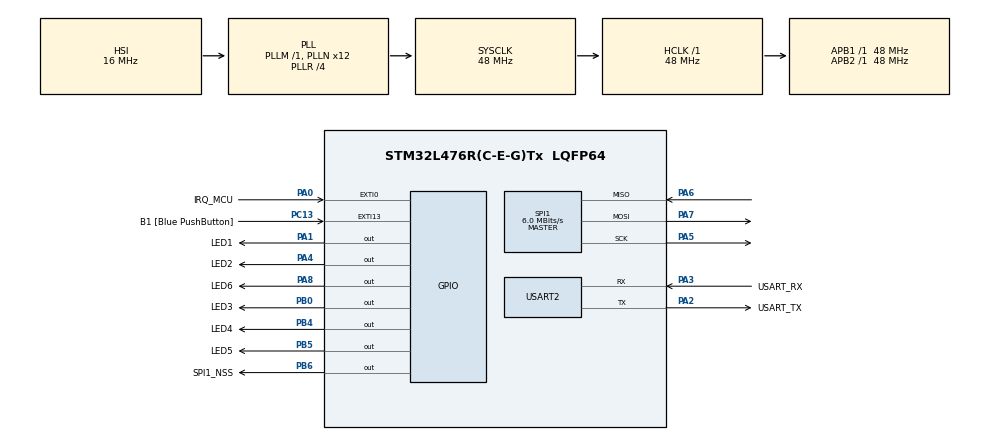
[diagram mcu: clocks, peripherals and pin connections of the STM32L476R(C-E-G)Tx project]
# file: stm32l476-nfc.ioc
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Mcu.Family=STM32L4
Mcu.Name=STM32L476R(C-E-G)Tx
Mcu.Package=LQFP64
NVIC.EXTI0_IRQn=true\:0\:0\:false\:false\:true\:true\:true\:true
NVIC.PriorityGroup=NVIC_PRIORITYGROUP_4
PA0.GPIO_Label=IRQ_MCU
PA0.Signal=GPXTI0
PA1.GPIO_Label=LED1
PA1.Signal=GPIO_Output
PA13\ (JTMS-SWDIO).GPIO_Label=TMS
PA13\ (JTMS-SWDIO).Mode=Serial_Wire
PA13\ (JTMS-SWDIO).Signal=SYS_JTMS-SWDIO
PA14\ (JTCK-SWCLK).GPIO_Label=TCK
PA14\ (JTCK-SWCLK).Mode=Serial_Wire
PA14\ (JTCK-SWCLK).Signal=SYS_JTCK-SWCLK
PA2.GPIO_Label=USART_TX
PA2.GPIO_Mode=GPIO_MODE_AF_PP
PA2.GPIO_PuPd=GPIO_NOPULL
PA2.GPIO_Speed=GPIO_SPEED_FREQ_VERY_HIGH
PA2.Mode=Asynchronous
PA2.Signal=USART2_TX
PA3.GPIO_Label=USART_RX
PA3.GPIO_Mode=GPIO_MODE_AF_PP
PA3.GPIO_PuPd=GPIO_NOPULL
PA3.GPIO_Speed=GPIO_SPEED_FREQ_VERY_HIGH
PA3.Mode=Asynchronous
PA3.Signal=USART2_RX
PA4.GPIO_Label=LED2
PA4.Signal=GPIO_Output
PA5.Mode=Full_Duplex_Master
PA5.Signal=SPI1_SCK
PA6.Mode=Full_Duplex_Master
PA6.Signal=SPI1_MISO
PA7.Mode=Full_Duplex_Master
PA7.Signal=SPI1_MOSI
PA8.GPIO_Label=LED6
PA8.Signal=GPIO_Output
PB0.GPIO_Label=LED3
PB0.Signal=GPIO_Output
PB3\ (JTDO-TRACESWO).GPIO_Label=SWO
PB3\ (JTDO-TRACESWO).Signal=SYS_JTDO-SWO
PB4\ (NJTRST).GPIO_Label=LED4
PB4\ (NJTRST).Signal=GPIO_Output
PB5.GPIO_Label=LED5
PB5.Signal=GPIO_Output
PB6.GPIO_Label=SPI1_NSS
PB6.Signal=GPIO_Output
PC13.GPIO_Label=B1 [Blue PushButton]
PC13.GPIO_ModeDefaultEXTI=GPIO_MODE_IT_RISING
PC13.GPIO_PuPd=GPIO_NOPULL
PC13.Signal=GPXTI13
PC14-OSC32_IN\ (PC14).Mode=LSE-External-Oscillator
PC14-OSC32_IN\ (PC14).Signal=RCC_OSC32_IN
PC15-OSC32_OUT\ (PC15).Mode=LSE-External-Oscillator
PC15-OSC32_OUT\ (PC15).Signal=RCC_OSC32_OUT
PH0-OSC_IN\ (PH0).Signal=RCC_OSC_IN
PH1-OSC_OUT\ (PH1).Signal=RCC_OSC_OUT
ProjectManager.HeapSize=0x200
ProjectManager.StackSize=0x400
ProjectManager.TargetToolchain=CMake
RCC.ADCFreq_Value=64000000
RCC.AHBFreq_Value=48000000
RCC.APB1Freq_Value=48000000
RCC.APB1TimFreq_Value=48000000
RCC.APB2Freq_Value=48000000
RCC.APB2TimFreq_Value=48000000
RCC.CortexFreq_Value=48000000
RCC.HCLKFreq_Value=48000000
RCC.HSE_VALUE=8000000
RCC.HSI_VALUE=16000000
RCC.MSI_VALUE=4000000
RCC.PLLN=12
RCC.PLLR=RCC_PLLR_DIV4
RCC.PLLSourceVirtual=RCC_PLLSOURCE_HSI
RCC.PREFETCH_ENABLE=1
RCC.SYSCLKFreq_VALUE=48000000
RCC.SYSCLKSource=RCC_SYSCLKSOURCE_PLLCLK
RCC.USBFreq_Value=64000000
RCC.VCOOutputFreq_Value=192000000
SPI1.BaudRatePrescaler=SPI_BAUDRATEPRESCALER_8
SPI1.CLKPhase=SPI_PHASE_2EDGE
SPI1.CalculateBaudRate=6.0 MBits/s
SPI1.DataSize=SPI_DATASIZE_8BIT
SPI1.Direction=SPI_DIRECTION_2LINES
SPI1.Mode=SPI_MODE_MASTER
SPI1.VirtualType=VM_MASTER
USART2.VirtualMode-Asynchronous=VM_ASYNC
board=NUCLEO-L476RG

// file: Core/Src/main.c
/* USER CODE BEGIN Header */
/**
  ******************************************************************************
  * @file           : main.c
  * @brief         : Main program body
  ******************************************************************************
  * @attention
  *
  * Copyright (c) 2024 STMicroelectronics.
  * All rights reserved.
  *
  * This software is licensed under terms that can be found in the LICENSE file
  * in the root directory of this software component.
  * If no LICENSE file comes with this software, it is provided AS-IS.
  *
  ******************************************************************************
  */
/* USER CODE END Header */
#include "main.h"
#include "macros.h"
#include "st25r3911b_hal_driver.h"
#include "st25r3911b_errors.h"

SPI_HandleTypeDef hspi1;
UART_HandleTypeDef huart2;

/* USER CODE BEGIN PV */

/* ST25R Global variables */
byte ST25R_IRQ_FLAG = 0;
irq_reason_t ST25R_IRQ_REASON = ST25R_NO_IRQ;
byte st25r_irq_buffer[3] = {0};

/* USER CODE END PV */

void SystemClock_Config(void);
static void MX_GPIO_Init(void);
static void MX_USART2_UART_Init(void);
static void MX_SPI1_Init(void);
/* USER CODE BEGIN PFP */
void HAL_GPIO_EXTI_Callback(uint16_t GPIO_Pin);
static void ST25R_ExtractIRQReason(void);
/* USER CODE END PFP */

int main(void)
{

  /* MCU Configuration--------------------------------------------------------*/

  /* Reset of all peripherals, Initializes the Flash interface and the Systick. */
  HAL_Init();

  /* Configure the system clock */
  SystemClock_Config();

  /* Initialize all configured peripherals */
  MX_GPIO_Init();
  MX_USART2_UART_Init();
  MX_SPI1_Init();
  /* USER CODE BEGIN 2 */

  /* Enable printf over UART2 */
  RetargetInit(&huart2);

  /* Check the presence of the IC */
  if (ST25R_CheckIC() != ST25R_OK) {
    Error_Handler();
  }

  /* Initialize ST25R3911B */
  if (ST25R_PowerUpSequence() != ST25R_OK) {
    Error_Handler();
  }
  if (ST25R_SelectTypeA() != ST25R_OK) {
    Error_Handler();
  }

  /* Perform Anticoll A */
  if (ST25R_PerformAnticollA() != ST25R_OK) {
    Error_Handler();
  }

  /* USER CODE END 2 */

  /* Infinite loop */
  while (1)
  {

  }
}

void SystemClock_Config(void)
{
  RCC_OscInitTypeDef RCC_OscInitStruct = {0};
  RCC_ClkInitTypeDef RCC_ClkInitStruct = {0};

  /** Configure the main internal regulator output voltage
  */
  if (HAL_PWREx_ControlVoltageScaling(PWR_REGULATOR_VOLTAGE_SCALE1) != HAL_OK)
  {
    Error_Handler();
  }

  /** Initializes the RCC Oscillators according to the specified parameters
  * in the RCC_OscInitTypeDef structure.
  */
  RCC_OscInitStruct.OscillatorType = RCC_OSCILLATORTYPE_HSI;
  RCC_OscInitStruct.HSIState = RCC_HSI_ON;
  RCC_OscInitStruct.HSICalibrationValue = RCC_HSICALIBRATION_DEFAULT;
  RCC_OscInitStruct.PLL.PLLState = RCC_PLL_ON;
  RCC_OscInitStruct.PLL.PLLSource = RCC_PLLSOURCE_HSI;
  RCC_OscInitStruct.PLL.PLLM = 1;
  RCC_OscInitStruct.PLL.PLLN = 12;
  RCC_OscInitStruct.PLL.PLLP = RCC_PLLP_DIV7;
  RCC_OscInitStruct.PLL.PLLQ = RCC_PLLQ_DIV2;
  RCC_OscInitStruct.PLL.PLLR = RCC_PLLR_DIV4;
  if (HAL_RCC_OscConfig(&RCC_OscInitStruct) != HAL_OK)
  {
    Error_Handler();
  }

  /** Initializes the CPU, AHB and APB buses clocks
  */
  RCC_ClkInitStruct.ClockType = RCC_CLOCKTYPE_HCLK|RCC_CLOCKTYPE_SYSCLK
                              |RCC_CLOCKTYPE_PCLK1|RCC_CLOCKTYPE_PCLK2;
  RCC_ClkInitStruct.SYSCLKSource = RCC_SYSCLKSOURCE_PLLCLK;
  RCC_ClkInitStruct.AHBCLKDivider = RCC_SYSCLK_DIV1;
  RCC_ClkInitStruct.APB1CLKDivider = RCC_HCLK_DIV1;
  RCC_ClkInitStruct.APB2CLKDivider = RCC_HCLK_DIV1;

  if (HAL_RCC_ClockConfig(&RCC_ClkInitStruct, FLASH_LATENCY_2) != HAL_OK)
  {
    Error_Handler();
  }
}

static void MX_SPI1_Init(void)
{

  /* SPI1 parameter configuration*/
  hspi1.Instance = SPI1;
  hspi1.Init.Mode = SPI_MODE_MASTER;
  hspi1.Init.Direction = SPI_DIRECTION_2LINES;
  hspi1.Init.DataSize = SPI_DATASIZE_8BIT;
  hspi1.Init.CLKPolarity = SPI_POLARITY_LOW;
  hspi1.Init.CLKPhase = SPI_PHASE_2EDGE;
  hspi1.Init.NSS = SPI_NSS_SOFT;
  hspi1.Init.BaudRatePrescaler = SPI_BAUDRATEPRESCALER_8;
  hspi1.Init.FirstBit = SPI_FIRSTBIT_MSB;
  hspi1.Init.TIMode = SPI_TIMODE_DISABLE;
  hspi1.Init.CRCCalculation = SPI_CRCCALCULATION_DISABLE;
  hspi1.Init.CRCPolynomial = 7;
  hspi1.Init.CRCLength = SPI_CRC_LENGTH_DATASIZE;
  hspi1.Init.NSSPMode = SPI_NSS_PULSE_DISABLE;
  if (HAL_SPI_Init(&hspi1) != HAL_OK)
  {
    Error_Handler();
  }

}

static void MX_USART2_UART_Init(void)
{

  huart2.Instance = USART2;
  huart2.Init.BaudRate = 115200;
  huart2.Init.WordLength = UART_WORDLENGTH_8B;
  huart2.Init.StopBits = UART_STOPBITS_1;
  huart2.Init.Parity = UART_PARITY_NONE;
  huart2.Init.Mode = UART_MODE_TX_RX;
  huart2.Init.HwFlowCtl = UART_HWCONTROL_NONE;
  huart2.Init.OverSampling = UART_OVERSAMPLING_16;
  huart2.Init.OneBitSampling = UART_ONE_BIT_SAMPLE_DISABLE;
  huart2.AdvancedInit.AdvFeatureInit = UART_ADVFEATURE_NO_INIT;
  if (HAL_UART_Init(&huart2) != HAL_OK)
  {
    Error_Handler();
  }

}

static void MX_GPIO_Init(void)
{
  GPIO_InitTypeDef GPIO_InitStruct = {0};

  /* GPIO Ports Clock Enable */
  __HAL_RCC_GPIOC_CLK_ENABLE();
  __HAL_RCC_GPIOH_CLK_ENABLE();
  __HAL_RCC_GPIOA_CLK_ENABLE();
  __HAL_RCC_GPIOB_CLK_ENABLE();

  /*Configure GPIO pin Output Level */
  HAL_GPIO_WritePin(GPIOA, LED1_Pin|LED2_Pin|LED6_Pin, GPIO_PIN_RESET);

  /*Configure GPIO pin Output Level */
  HAL_GPIO_WritePin(GPIOB, LED3_Pin|LED4_Pin|LED5_Pin|SPI1_NSS_Pin, GPIO_PIN_RESET);

  /*Configure GPIO pin : B1_Pin */
  GPIO_InitStruct.Pin = B1_Pin;
  GPIO_InitStruct.Mode = GPIO_MODE_IT_RISING;
  GPIO_InitStruct.Pull = GPIO_NOPULL;
  HAL_GPIO_Init(B1_GPIO_Port, &GPIO_InitStruct);

  /*Configure GPIO pin : IRQ_MCU_Pin */
  GPIO_InitStruct.Pin = IRQ_MCU_Pin;
  GPIO_InitStruct.Mode = GPIO_MODE_IT_RISING;
  GPIO_InitStruct.Pull = GPIO_NOPULL;
  HAL_GPIO_Init(IRQ_MCU_GPIO_Port, &GPIO_InitStruct);

  /*Configure GPIO pins : LED1_Pin LED2_Pin LED6_Pin */
  GPIO_InitStruct.Pin = LED1_Pin|LED2_Pin|LED6_Pin;
  GPIO_InitStruct.Mode = GPIO_MODE_OUTPUT_PP;
  GPIO_InitStruct.Pull = GPIO_NOPULL;
  GPIO_InitStruct.Speed = GPIO_SPEED_FREQ_LOW;
  HAL_GPIO_Init(GPIOA, &GPIO_InitStruct);

  /*Configure GPIO pins : LED3_Pin LED4_Pin LED5_Pin SPI1_NSS_Pin */
  GPIO_InitStruct.Pin = LED3_Pin|LED4_Pin|LED5_Pin|SPI1_NSS_Pin;
  GPIO_InitStruct.Mode = GPIO_MODE_OUTPUT_PP;
  GPIO_InitStruct.Pull = GPIO_NOPULL;
  GPIO_InitStruct.Speed = GPIO_SPEED_FREQ_LOW;
  HAL_GPIO_Init(GPIOB, &GPIO_InitStruct);

  /* EXTI interrupt init*/
  HAL_NVIC_SetPriority(EXTI0_IRQn, 0, 0);
  HAL_NVIC_EnableIRQ(EXTI0_IRQn);

}

/* USER CODE BEGIN 4 */

static void ST25R_ExtractIRQReason(void) {

  /* Store content of interrupt register for better readability */
  byte mainIrqReg = st25r_irq_buffer[0];
  byte timerNfcIrqReg = st25r_irq_buffer[1];
  byte errorWupIrqReg = st25r_irq_buffer[2];

  if (BIT7_MASK(mainIrqReg)) {
    ST25R_IRQ_REASON = ST25R_OSC_FREQ_STABLE_IRQ;
  }
  else if (BIT6_MASK(mainIrqReg)) {
    ST25R_IRQ_REASON = ST25R_FIFO_WATER_LVL_IRQ;
  }
  else if (BIT5_MASK(mainIrqReg)) {
    ST25R_IRQ_REASON = ST25R_RX_START_IRQ;
  }
  else if (BIT4_MASK(mainIrqReg)) {
    ST25R_IRQ_REASON = ST25R_RX_STOP_IRQ;
  }
  else if (BIT3_MASK(mainIrqReg)) {
    ST25R_IRQ_REASON = ST25R_TX_STOP_IRQ;
  }
  else if (BIT2_MASK(mainIrqReg)) {
    ST25R_IRQ_REASON = ST25R_BIT_COLL_IRQ;
  }
  else if (BIT1_MASK(mainIrqReg)) {

    if (BIT7_MASK(timerNfcIrqReg)) {
      ST25R_IRQ_REASON = ST25R_DIRECT_CMD_STOP_IRQ;
    }
    else if (BIT6_MASK(timerNfcIrqReg)) {
      ST25R_IRQ_REASON = ST25R_NO_RESP_TIM_IRQ;
    }
    else if (BIT5_MASK(timerNfcIrqReg)) {
      ST25R_IRQ_REASON = ST25R_GP_TIM_IRQ;
    }
    else if (BIT4_MASK(timerNfcIrqReg)) {
      ST25R_IRQ_REASON = ST25R_EXT_FIELD_HIGH_IRQ;
    }
    else if (BIT3_MASK(timerNfcIrqReg)) {
      ST25R_IRQ_REASON = ST25R_EXT_FIELD_LOW_IRQ;
    }
    else if (BIT2_MASK(timerNfcIrqReg)) {
      ST25R_IRQ_REASON = ST25R_COLL_DURING_RF_COLL_AVOIDANCE_IRQ;
    }
    else if (BIT1_MASK(timerNfcIrqReg)) {
      ST25R_IRQ_REASON = ST25R_MIN_GUARD_TIME_VIOL_IRQ;
    }
    else if (BIT0_MASK(timerNfcIrqReg)) {
      ST25R_IRQ_REASON = ST25R_INITIATOR_RECV_IN_TARGET_MODE_IRQ;
    }

  }
  else if (BIT0_MASK(mainIrqReg)) {
    if (BIT7_MASK(errorWupIrqReg)) {
      ST25R_IRQ_REASON = ST25R_CRC_ERROR_IRQ;
    }
    else if (BIT6_MASK(errorWupIrqReg)) {
      ST25R_IRQ_REASON = ST25R_PARITY_ERROR_IRQ;
    }
    else if (BIT5_MASK(errorWupIrqReg)) {
      ST25R_IRQ_REASON = ST25R_SOFT_FRAMING_ERROR_IRQ;
    }
    else if (BIT4_MASK(errorWupIrqReg)) {
      ST25R_IRQ_REASON = ST25R_HARD_FRAMING_ERROR_IRQ;
    }
    else if (BIT3_MASK(errorWupIrqReg)) {
      ST25R_IRQ_REASON = ST25R_WUP_TIM_IRQ;
    }
    else if (BIT2_MASK(errorWupIrqReg)) {
      ST25R_IRQ_REASON = ST25R_WUP_TIM_AMP_MEAS_IRQ;
    }
    else if (BIT1_MASK(errorWupIrqReg)) {
      ST25R_IRQ_REASON = ST25R_WUP_TIM_PHASE_MEAS_IRQ;
    }
    else if (BIT0_MASK(errorWupIrqReg)) {
      ST25R_IRQ_REASON = ST25R_WUP_TIM_CAP_MEAS_IRQ;
    }

    #ifdef DEBUG
      printf("[NFC05A1 TCL Reader] IRQ Detected. Reason no.%d\r\n", ST25R_IRQ_REASON);
    #endif

  }

}

void HAL_GPIO_EXTI_Callback(uint16_t GPIO_Pin) {
  if (GPIO_Pin == IRQ_MCU_Pin) {
    ST25R_IRQ_FLAG = 1;

    /* Read IRQ status registers (addresses: 0x17, 0x18, 0x19) */
    if (ST25R_ReadMultipleRegisters(ST25R_MAIN_INTERRUPT_REG, st25r_irq_buffer, 3) != ST25R_OK) {
      Error_Handler();
    }

    /* Extract IRQ reason */
    ST25R_ExtractIRQReason();

  }
}

/* USER CODE END 4 */

void Error_Handler(void)
{
  __disable_irq();
  while (1)
  {
  }
}
